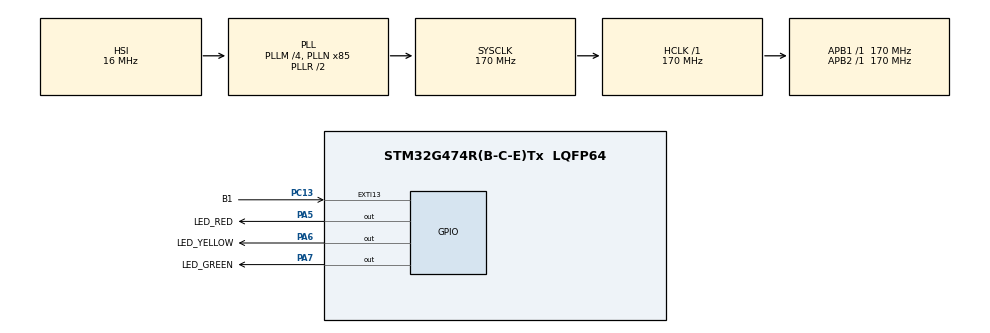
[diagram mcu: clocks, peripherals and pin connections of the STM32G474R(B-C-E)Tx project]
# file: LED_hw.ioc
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Mcu.Family=STM32G4
Mcu.Name=STM32G474R(B-C-E)Tx
Mcu.Package=LQFP64
NVIC.EXTI15_10_IRQn=true\:0\:0\:false\:false\:true\:true\:true\:true
NVIC.PriorityGroup=NVIC_PRIORITYGROUP_4
PA13.GPIO_Label=T_SWDIO
PA13.Signal=SYS_JTMS-SWDIO
PA14.GPIO_Label=T_SWCLK
PA14.Signal=SYS_JTCK-SWCLK
PA2.GPIO_Label=LPUART1_TX [STLINKV3E_VCP_RX]
PA2.Signal=LPUART1_TX
PA3.GPIO_Label=LPUART1_RX [STLINKV3E_VCP_TX]
PA3.Signal=LPUART1_RX
PA5.GPIO_Label=LED_RED
PA5.Signal=GPIO_Output
PA6.GPIO_Label=LED_YELLOW
PA6.Signal=GPIO_Output
PA7.GPIO_Label=LED_GREEN
PA7.Signal=GPIO_Output
PB3.GPIO_Label=T_SWO
PB3.Signal=SYS_JTDO-SWO
PC13.GPIO_Label=B1
PC13.Signal=GPXTI13
PC14-OSC32_IN.GPIO_Label=RCC_OSC32_IN
PC14-OSC32_IN.Signal=RCC_OSC32_IN
PC15-OSC32_OUT.GPIO_Label=RCC_OSC32_OUT
PC15-OSC32_OUT.Signal=RCC_OSC32_OUT
PF0-OSC_IN.GPIO_Label=RCC_OSC_IN
PF0-OSC_IN.Signal=RCC_OSC_IN
PF1-OSC_OUT.GPIO_Label=RCC_OSC_OUT
PF1-OSC_OUT.Signal=RCC_OSC_OUT
ProjectManager.HeapSize=0x200
ProjectManager.StackSize=0x400
ProjectManager.TargetToolchain=STM32CubeIDE
RCC.ADC12Freq_Value=170000000
RCC.ADC345Freq_Value=170000000
RCC.AHBFreq_Value=170000000
RCC.APB1Freq_Value=170000000
RCC.APB1TimFreq_Value=170000000
RCC.APB2Freq_Value=170000000
RCC.APB2TimFreq_Value=170000000
RCC.CortexFreq_Value=170000000
RCC.EXTERNAL_CLOCK_VALUE=12288000
RCC.HCLKFreq_Value=170000000
RCC.HSE_VALUE=24000000
RCC.HSI48_VALUE=48000000
RCC.HSI_VALUE=16000000
RCC.LSE_VALUE=32768
RCC.PLLM=RCC_PLLM_DIV4
RCC.PLLN=85
RCC.RTCClockSelection=RCC_RTCCLKSOURCE_LSE
RCC.SYSCLKFreq_VALUE=170000000
RCC.SYSCLKSource=RCC_SYSCLKSOURCE_PLLCLK
RCC.USBFreq_Value=170000000
RCC.VCOOutputFreq_Value=340000000
VP_SYS_VS_DBSignals.Mode=DisableDeadBatterySignals
board=NUCLEO-G474RE

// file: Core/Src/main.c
/* USER CODE BEGIN Header */
/**
******************************************************************************
* @file : main.c
* @brief : Main program body
******************************************************************************
*/
/* USER CODE END Header */
#include "main.h"

/* USER CODE BEGIN PV */
volatile uint8_t state = 0;
volatile uint8_t button_pressed = 0;
/* USER CODE END PV */

void SystemClock_Config(void);
static void MX_GPIO_Init(void);

int main(void)
{

  /* MCU Configuration--------------------------------------------------------*/

  /* Reset of all peripherals, Initializes the Flash interface and the Systick. */
  HAL_Init();

  /* Configure the system clock */
  SystemClock_Config();

  /* Initialize all configured peripherals */
  MX_GPIO_Init();
  /* USER CODE BEGIN 2 */

  /* 初始狀態：三顆 LED 全部熄滅 */
  HAL_GPIO_WritePin(LED_RED_GPIO_Port,
                    LED_RED_Pin,
                    GPIO_PIN_RESET);

  HAL_GPIO_WritePin(LED_YELLOW_GPIO_Port,
                    LED_YELLOW_Pin,
                    GPIO_PIN_RESET);

  HAL_GPIO_WritePin(LED_GREEN_GPIO_Port,
                    LED_GREEN_Pin,
                    GPIO_PIN_RESET);

  /* USER CODE END 2 */

  /* Infinite loop */
  while (1)
  {

    /* USER CODE BEGIN 3 */

    /* 偵測到按鍵 */
    if (button_pressed)
    {
      /* 簡單 debounce */
      HAL_Delay(20);

      /*
       * LED 狀態循環：
       *
       * state = 0：全部熄滅
       * state = 1：紅燈
       * state = 2：紅燈 + 黃燈
       * state = 3：紅燈 + 黃燈 + 綠燈
       *
       * 下一次回到 state = 0
       */
      state = (state + 1) % 4;

      /* 紅色 LED */
      HAL_GPIO_WritePin(LED_RED_GPIO_Port,
                        LED_RED_Pin,
                        (state >= 1) ?
                        GPIO_PIN_SET : GPIO_PIN_RESET);

      /* 黃色 LED */
      HAL_GPIO_WritePin(LED_YELLOW_GPIO_Port,
                        LED_YELLOW_Pin,
                        (state >= 2) ?
                        GPIO_PIN_SET : GPIO_PIN_RESET);

      /* 綠色 LED */
      HAL_GPIO_WritePin(LED_GREEN_GPIO_Port,
                        LED_GREEN_Pin,
                        (state >= 3) ?
                        GPIO_PIN_SET : GPIO_PIN_RESET);

      /*
       * 等待按鍵放開
       * 避免一次按下被判定成多次按鍵
       */
      while (HAL_GPIO_ReadPin(B1_GPIO_Port, B1_Pin) == GPIO_PIN_SET)
      {
        HAL_Delay(1);
      }

      /* 清除按鍵事件 */
      button_pressed = 0;
    }
  }
  /* USER CODE END 3 */
}

void SystemClock_Config(void)
{
  RCC_OscInitTypeDef RCC_OscInitStruct = {0};
  RCC_ClkInitTypeDef RCC_ClkInitStruct = {0};

  /** Configure the main internal regulator output voltage
  */
  HAL_PWREx_ControlVoltageScaling(PWR_REGULATOR_VOLTAGE_SCALE1_BOOST);

  /** Initializes the RCC Oscillators according to the specified parameters
  * in the RCC_OscInitTypeDef structure.
  */
  RCC_OscInitStruct.OscillatorType = RCC_OSCILLATORTYPE_HSI;
  RCC_OscInitStruct.HSIState = RCC_HSI_ON;
  RCC_OscInitStruct.HSICalibrationValue = RCC_HSICALIBRATION_DEFAULT;
  RCC_OscInitStruct.PLL.PLLState = RCC_PLL_ON;
  RCC_OscInitStruct.PLL.PLLSource = RCC_PLLSOURCE_HSI;
  RCC_OscInitStruct.PLL.PLLM = RCC_PLLM_DIV4;
  RCC_OscInitStruct.PLL.PLLN = 85;
  RCC_OscInitStruct.PLL.PLLP = RCC_PLLP_DIV2;
  RCC_OscInitStruct.PLL.PLLQ = RCC_PLLQ_DIV2;
  RCC_OscInitStruct.PLL.PLLR = RCC_PLLR_DIV2;
  if (HAL_RCC_OscConfig(&RCC_OscInitStruct) != HAL_OK)
  {
    Error_Handler();
  }

  /** Initializes the CPU, AHB and APB buses clocks
  */
  RCC_ClkInitStruct.ClockType = RCC_CLOCKTYPE_HCLK|RCC_CLOCKTYPE_SYSCLK
                              |RCC_CLOCKTYPE_PCLK1|RCC_CLOCKTYPE_PCLK2;
  RCC_ClkInitStruct.SYSCLKSource = RCC_SYSCLKSOURCE_PLLCLK;
  RCC_ClkInitStruct.AHBCLKDivider = RCC_SYSCLK_DIV1;
  RCC_ClkInitStruct.APB1CLKDivider = RCC_HCLK_DIV1;
  RCC_ClkInitStruct.APB2CLKDivider = RCC_HCLK_DIV1;

  if (HAL_RCC_ClockConfig(&RCC_ClkInitStruct, FLASH_LATENCY_4) != HAL_OK)
  {
    Error_Handler();
  }
}

static void MX_GPIO_Init(void)
{
  GPIO_InitTypeDef GPIO_InitStruct = {0};

  /* GPIO Ports Clock Enable */
  __HAL_RCC_GPIOC_CLK_ENABLE();
  __HAL_RCC_GPIOF_CLK_ENABLE();
  __HAL_RCC_GPIOA_CLK_ENABLE();
  __HAL_RCC_GPIOB_CLK_ENABLE();

  /*Configure GPIO pin Output Level */
  HAL_GPIO_WritePin(GPIOA, LED_RED_Pin|LED_YELLOW_Pin|LED_GREEN_Pin, GPIO_PIN_RESET);

  /*Configure GPIO pin : B1_Pin */
  GPIO_InitStruct.Pin = B1_Pin;
  GPIO_InitStruct.Mode = GPIO_MODE_IT_RISING;
  GPIO_InitStruct.Pull = GPIO_NOPULL;
  HAL_GPIO_Init(B1_GPIO_Port, &GPIO_InitStruct);

  /*Configure GPIO pins : LPUART1_TX_Pin LPUART1_RX_Pin */
  GPIO_InitStruct.Pin = LPUART1_TX_Pin|LPUART1_RX_Pin;
  GPIO_InitStruct.Mode = GPIO_MODE_AF_PP;
  GPIO_InitStruct.Pull = GPIO_NOPULL;
  GPIO_InitStruct.Speed = GPIO_SPEED_FREQ_LOW;
  GPIO_InitStruct.Alternate = GPIO_AF12_LPUART1;
  HAL_GPIO_Init(GPIOA, &GPIO_InitStruct);

  /*Configure GPIO pins : LED_RED_Pin LED_YELLOW_Pin LED_GREEN_Pin */
  GPIO_InitStruct.Pin = LED_RED_Pin|LED_YELLOW_Pin|LED_GREEN_Pin;
  GPIO_InitStruct.Mode = GPIO_MODE_OUTPUT_PP;
  GPIO_InitStruct.Pull = GPIO_NOPULL;
  GPIO_InitStruct.Speed = GPIO_SPEED_FREQ_LOW;
  HAL_GPIO_Init(GPIOA, &GPIO_InitStruct);

  /* EXTI interrupt init*/
  HAL_NVIC_SetPriority(EXTI15_10_IRQn, 0, 0);
  HAL_NVIC_EnableIRQ(EXTI15_10_IRQn);

}

/* USER CODE BEGIN 4 */

/**
  * @brief GPIO EXTI Callback
  * @param GPIO_Pin: Specifies the pins connected EXTI line
  * @retval None
  */
void HAL_GPIO_EXTI_Callback(uint16_t GPIO_Pin)
{
  if (GPIO_Pin == B1_Pin)
  {
    /*
     * 中斷裡不要使用 HAL_Delay()
     * 只設定旗標，交給 main() 處理
     */
    button_pressed = 1;
  }
}

/* USER CODE END 4 */

void Error_Handler(void)
{
  __disable_irq();
  while (1)
  {
  }
}
#ifdef USE_FULL_ASSERT
/**
  * @brief  Reports the name of the source file and the source line number
  *         where the assert_param error has occurred.
  * @param  file: pointer to the source file name
  * @param  line: assert_param error line source number
  * @retval None
  */
void assert_failed(uint8_t *file, uint32_t line)
{
  /* USER CODE BEGIN 6 */

  /* User can add his own implementation to report the file name and
     the line number, ex: printf("Wrong parameters value: file %s on
     line %d\r\n", file, line) */

  /* USER CODE END 6 */
}
#endif /* USE_FULL_ASSERT */
